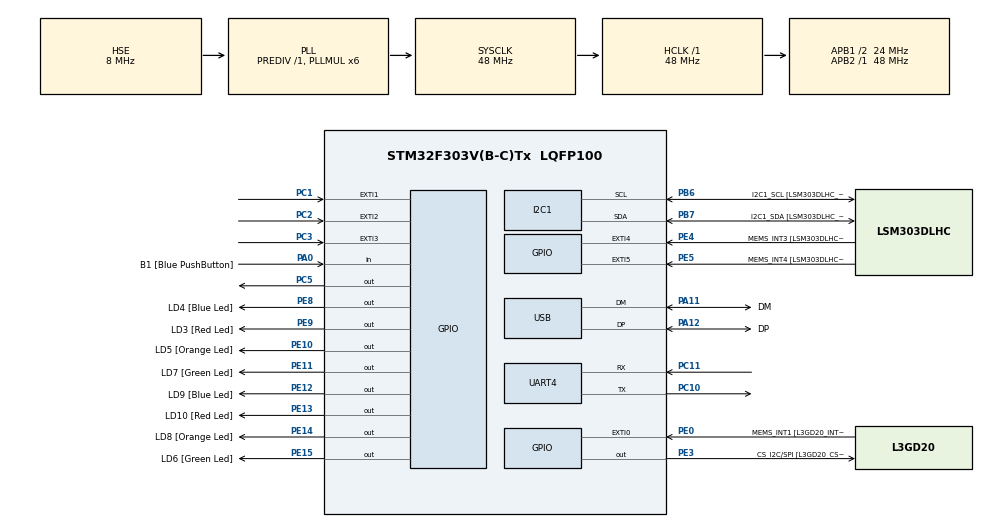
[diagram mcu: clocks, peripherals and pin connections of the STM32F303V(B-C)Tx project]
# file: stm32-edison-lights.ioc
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I2C1.Timing=0x2000090E
I2C1.Timing-I2C=0x2000090E
Mcu.Family=STM32F3
Mcu.Name=STM32F303V(B-C)Tx
Mcu.Package=LQFP100
NVIC.EXTI1_IRQn=true\:0\:0\:false\:false\:true\:true\:true\:true
NVIC.EXTI3_IRQn=true\:0\:0\:false\:false\:true\:true\:true\:true
NVIC.PriorityGroup=NVIC_PRIORITYGROUP_0
NVIC.UART4_IRQn=true\:0\:0\:false\:false\:true\:true\:true\:true
PA0.GPIO_Label=B1 [Blue PushButton]
PA0.Signal=GPIO_Input
PA11.GPIO_Label=DM
PA11.Mode=Device
PA11.Signal=USB_DM
PA12.GPIO_Label=DP
PA12.Mode=Device
PA12.Signal=USB_DP
PA13.GPIO_Label=SWDIO
PA13.Mode=Serial_Wire
PA13.Signal=SYS_JTMS-SWDIO
PA14.GPIO_Label=SWCLK
PA14.Mode=Serial_Wire
PA14.Signal=SYS_JTCK-SWCLK
PA5.GPIO_Label=SPI1_SCK [L3GD20_SCL/SPC]
PA5.Signal=SPI1_SCK
PA6.GPIO_Label=SPI1_MISO [L3GD20_SA0/SDO]
PA6.Signal=SPI1_MISO
PA7.GPIO_Label=SPI1_MISO [L3GD20_SDA/SDI/SDO]
PA7.Signal=SPI1_MOSI
PB3.GPIO_Label=SWO
PB3.Signal=SYS_JTDO-TRACESWO
PB6.GPIO_Label=I2C1_SCL [LSM303DLHC_SCL]
PB6.GPIO_Pu=GPIO_PULLUP
PB6.Mode=I2C
PB6.Signal=I2C1_SCL
PB7.GPIO_Label=I2C1_SDA [LSM303DLHC_SDA]
PB7.GPIO_Pu=GPIO_PULLUP
PB7.Mode=I2C
PB7.Signal=I2C1_SDA
PC1.Signal=GPXTI1
PC10.Mode=Asynchronous
PC10.Signal=UART4_TX
PC11.Mode=Asynchronous
PC11.Signal=UART4_RX
PC14-OSC32_IN.GPIO_Label=OSC32_IN
PC14-OSC32_IN.Signal=RCC_OSC32_IN
PC15-OSC32_OUT.GPIO_Label=OSC32_OUT
PC15-OSC32_OUT.Signal=RCC_OSC32_OUT
PC2.Signal=GPXTI2
PC3.Signal=GPXTI3
PC5.GPIO_ModeDefaultOutputPP=GPIO_MODE_OUTPUT_OD
PC5.GPIO_PuPd=GPIO_NOPULL
PC5.PinState=GPIO_PIN_SET
PC5.Signal=GPIO_Output
PE0.GPIO_Label=MEMS_INT1 [L3GD20_INT1]
PE0.GPIO_ModeDefaultEXTI=GPIO_MODE_EVT_RISING
PE0.Signal=GPXTI0
PE10.GPIO_Label=LD5 [Orange Led]
PE10.Signal=GPIO_Output
PE11.GPIO_Label=LD7 [Green Led]
PE11.Signal=GPIO_Output
PE12.GPIO_Label=LD9 [Blue Led]
PE12.Signal=GPIO_Output
PE13.GPIO_Label=LD10 [Red Led]
PE13.Signal=GPIO_Output
PE14.GPIO_Label=LD8 [Orange Led]
PE14.Signal=GPIO_Output
PE15.GPIO_Label=LD6 [Green Led]
PE15.Signal=GPIO_Output
PE3.GPIO_Label=CS_I2C/SPI [L3GD20_CS_I2C/SPI]
PE3.Signal=GPIO_Output
PE4.GPIO_Label=MEMS_INT3 [LSM303DLHC_INT1]
PE4.GPIO_ModeDefaultEXTI=GPIO_MODE_EVT_RISING
PE4.Signal=GPXTI4
PE5.GPIO_Label=MEMS_INT4 [LSM303DLHC_INT2]
PE5.GPIO_ModeDefaultEXTI=GPIO_MODE_EVT_RISING
PE5.Signal=GPXTI5
PE8.GPIO_Label=LD4 [Blue Led]
PE8.Signal=GPIO_Output
PE9.GPIO_Label=LD3 [Red Led]
PE9.Signal=GPIO_Output
PF0-OSC_IN.GPIO_Label=OSC_IN
PF0-OSC_IN.Mode=HSE-External-Clock-Source
PF0-OSC_IN.Signal=RCC_OSC_IN
PF1-OSC_OUT.GPIO_Label=OSC_OUT
PF1-OSC_OUT.Signal=RCC_OSC_OUT
ProjectManager.HeapSize=0x3000
ProjectManager.StackSize=0x1000
ProjectManager.TargetToolchain=STM32CubeIDE
RCC.AHBFreq_Value=48000000
RCC.APB1CLKDivider=RCC_HCLK_DIV2
RCC.APB1Freq_Value=24000000
RCC.APB1TimFreq_Value=48000000
RCC.APB2Freq_Value=48000000
RCC.APB2TimFreq_Value=48000000
RCC.CortexFreq_Value=48000000
RCC.HCLKFreq_Value=48000000
RCC.HSE_VALUE=8000000
RCC.HSI_VALUE=8000000
RCC.LSE_VALUE=32768
RCC.PLLMUL=RCC_PLL_MUL6
RCC.SYSCLKFreq_VALUE=48000000
RCC.SYSCLKSourceVirtual=RCC_SYSCLKSOURCE_PLLCLK
RCC.USBFreq_Value=48000000
UART4.OverrunDisableParam=UART_ADVFEATURE_OVERRUN_DISABLE
board=STM32F3DISCOVERY

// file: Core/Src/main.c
/* USER CODE BEGIN Header */
/**
  ******************************************************************************
  * @file           : main.c
  * @brief          : Main program body
  ******************************************************************************
  * @attention
  *
  * Copyright (c) 2023 STMicroelectronics.
  * All rights reserved.
  *
  * This software is licensed under terms that can be found in the LICENSE file
  * in the root directory of this software component.
  * If no LICENSE file comes with this software, it is provided AS-IS.
  *
  ******************************************************************************
  */
/* USER CODE END Header */
#include "main.h"

/* USER CODE BEGIN Includes */
#include <stdio.h>
#include <string.h>
#include <ctype.h>
#include "pca9535.h"
/* USER CODE END Includes */

I2C_HandleTypeDef hi2c1;

UART_HandleTypeDef huart4;

PCD_HandleTypeDef hpcd_USB_FS;

/* USER CODE BEGIN PV */
int MODE = 0; 	     //Режим работы
int MODE_NUM = 4;
char commandBuf[32]; //Буфер обработки комманды
char outputBuf[64];  //Буфер ответа на комманды
int msgLen = 0;		 //Длина комманды
int PIN = 0;
int DELAY = 1000;	 //Задержка цикла
int TIMESTAMP;
int SPEED = 100;	 //Скорость мерцания диодов
int DELAY_DEFAULT_MODE_1 = 500;
int DELAY_DEFAULT_MODE_2 = 1000;
int DELAY_DEFAULT_MODE_3 = 1500;
int SPEED_DEFAULT_MODE_1 = 100;
int SPEED_DEFAULT_MODE_2 = 200;
int SPEED_DEFAULT_MODE_3 = 400;
int DIRECTION = 1; // Направление движения диодов, положительное или отрицательное
/* USER CODE END PV */

void SystemClock_Config(void);
static void MX_GPIO_Init(void);
static void MX_I2C1_Init(void);
static void MX_USB_PCD_Init(void);
static void MX_UART4_Init(void);

/* USER CODE BEGIN 0 */

void setModeParam(int _MODE){
	if (_MODE = MODE){
		MODE = 0;
		return;
	}
	switch (_MODE){
	case 1:
		MODE = 1;
		DELAY = DELAY_DEFAULT_MODE_1;
		SPEED = SPEED_DEFAULT_MODE_1;
		DIRECTION = 1;
		break;
	case 2:
		MODE = 2;
		DELAY = DELAY_DEFAULT_MODE_2;
		SPEED = SPEED_DEFAULT_MODE_2;
		DIRECTION = 1;
		break;
	case 3:
		MODE = 3;
		DELAY = DELAY_DEFAULT_MODE_3;
		SPEED = SPEED_DEFAULT_MODE_3;
		DIRECTION = 1;
		break;
	}
	return;
}

void button_1_IRQ_Callback(){
	setMode(1);
}
void button_2_IRQ_Callback(){
	setMode(2);
}
void button_3_IRQ_Callback(){
	setMode(3);
}

int UART_IRQ_callback() {
	 if (!__HAL_UART_GET_FLAG(&huart4, UART_FLAG_RXNE)) {
		 return 0;
	 }
	 commandBuf[msgLen % INPUT_BUF_SIZE] = huart4.Instance->RDR;
	 msgLen++;
	 return 0;
}

//Выствляем все выходы в 0
void clearOutput(){
	PCA9535_WriteClearAll(hi2c1, PCA9555_ADR20);
	PCA9535_WriteClearAll(hi2c1, PCA9555_ADR21);
}
//Выставляем все выходы в 1
void setOutput(){
	PCA9535_WriteSetAll(hi2c1, PCA9555_ADR20);
	PCA9535_WriteSetAll(hi2c1, PCA9555_ADR21);
}
//Режим комета
void mode_1(){
	HAL_Delay(1000 /SPEED_DEFAULT_MODE_1);
	PIN += DIRECTION;
	if(PIN > 33 || PIN < 0){
		clearOutput();
		HAL_GPIO_WritePin(GPIOE, GPIO_PIN_8, RESET);
		if(DIRECTION > 0)
			PIN = 0;
		else
			PIN = 33;
		return;
	}
	if(PIN < 15){
	     PCA9535_Write(hi2c1, PIN, SET , PCA9555_ADR20);
	     return;
	}
	if(PIN < 32){
	     PCA9535_Write(hi2c1, PIN - 16, SET , PCA9555_ADR21);
	     return;
	}
	if(PIN == 33){
		HAL_GPIO_WritePin(GPIOE, GPIO_PIN_8, SET);
		return;
    }
}
//Режим падение
void mode_2(){
	HAL_Delay(1000 /SPEED_DEFAULT_MODE_2);
	PIN -= DIRECTION;
	if(PIN > 33 || PIN < 0){
		clearOutput();
		if(DIRECTION > 0)
			PIN = 33;
		else PIN = 0;
		return;
	}

	if(PIN == 33){
		HAL_GPIO_WritePin(GPIOE, GPIO_PIN_8, SET);
		return;
	}
	HAL_GPIO_WritePin(GPIOE, GPIO_PIN_8, RESET);
	if(PIN < 32){
		 clearOutput();
	     PCA9535_Write(hi2c1, PIN - 16, SET , PCA9555_ADR21);
	     return;
	}
	if(PIN < 15){
		 clearOutput();
	     PCA9535_Write(hi2c1, PIN, SET , PCA9555_ADR20);
	     return;
	}
}
//Режим салют
void mode_3(){
	HAL_Delay(1000 / SPEED_DEFAULT_MODE_3);
	PIN += DIRECTION;
	if(PIN > 32 || PIN < 0){
		setOutput();
		if(DIRECTION > 0)
			PIN = 0;
		else
			PIN = 32;
		return;
	 }
	if(PIN < 15){
		 setOutput();
	     PCA9535_Write(hi2c1, PIN, RESET , PCA9555_ADR20);
	     return;
	}
	if(PIN < 32){
		 setOutput();
	     PCA9535_Write(hi2c1, PIN - 16, RESET , PCA9555_ADR21);
	     return;
	}
}

void setDelay(int _delay){
	DELAY = abs(_delay) % 3000;
}

void setMode(int _mode){
	_mode = abs(_mode) % MODE_NUM;
	setModeParam(_mode);
}

void setSpeed(int _speed){
	SPEED = abs(_speed) % 1000;
}

void setDirection(int _dir){
	(_dir > 0) ? (DIRECTION = 1) : (DIRECTION = -1);
}
//Обработка AT-Комманд
void commandProcess(){
	int n = 0;
	int cmd_len = strlen(commandBuf);
	sscanf(commandBuf, "AT+TURNOFF%n", &n);
	if (!strncmp(commandBuf, "AT+TURNOFF", 10)){
		strcpy(outputBuf, "OK\n");
		MODE = 0;
		return;
	}
	if (!strncmp(commandBuf, "AT+SETMODE:", 11)){
		int tempMode = -1;
		sscanf(commandBuf, "AT+SETMODE:%d", &tempMode);
		setMode(tempMode);
		strcpy(outputBuf, "OK");
		return;
	}
	if (!strncmp(commandBuf, "AT+SETDELAY:", 12)){
		int tempDelay = 100;
		sscanf(commandBuf, "AT+SETDELAY:%d", &tempDelay);
		setDelay(tempDelay);
		strcpy(outputBuf, "OK");
		return;
	}
	if (!strncmp(commandBuf, "AT+SETSPEED:", 12)){
		int tempSpeed = 100;
		sscanf(commandBuf, "AT+SETSPEED:%d", &tempSpeed);
		setSpeed(tempSpeed);
		strcpy(outputBuf, "OK");
		return;
	}
	if (!strncmp(commandBuf, "AT+SETDIRECTION:", 16)){
		int tempDir = 100;
		sscanf(commandBuf, "AT+SETDIRECTION:%d", &tempDir);
		setDirection(tempDir);
		strcpy(outputBuf, "OK");
		return;
	}
	if (!strncmp(commandBuf, "AT+GETMODE", 10)){
		if(!MODE){
			strcpy(outputBuf, "OFF");
			return;
		}
		sprintf(outputBuf, "ON MODE:%d SPEED:%d DELAY:%d DIRECTION: %d", MODE, SPEED, DELAY, DIRECTION);
		return;
	}
	strcpy(outputBuf, "ERROR");
}
/* USER CODE END 0 */

int main(void)
{

  /* MCU Configuration--------------------------------------------------------*/

  /* Reset of all peripherals, Initializes the Flash interface and the Systick. */
  HAL_Init();

  /* Configure the system clock */
  SystemClock_Config();

  /* Initialize all configured peripherals */
  MX_GPIO_Init();
  MX_I2C1_Init();
  MX_USB_PCD_Init();
  MX_UART4_Init();
  /* USER CODE BEGIN 2 */
  //Включаем прерывания по RXNE
   __HAL_UART_ENABLE_IT(&huart4, UART_IT_RXNE);
   TIMESTAMP = HAL_GetTick();
   //Настраеваем порты PC9535 с адрессами 0x20 и 0x21 на выход
   PC9535_init(hi2c1, PCA9555_ADR20);
   PC9535_init(hi2c1, PCA9555_ADR21);
   //Выставляем все выходы в 0
   clearOutput();
   HAL_UART_Transmit(&huart4, "Start", 5, HAL_MAX_DELAY);
  /* USER CODE END 2 */

  /* Infinite loop */
  /* USER CODE BEGIN WHILE */
   while (1) {
	   HAL_Delay(1000);
	   	   if(msgLen){
	   	   	   commandProcess();
	   	   	   HAL_UART_Transmit(&huart4, outputBuf, strlen(outputBuf), 1000);
	   	 	   HAL_UART_Transmit(&huart4, "\n", 1, 1000);
	   	   	   msgLen = 0;
	   	   	   memset(commandBuf, 0 , 32);
	   	   	   memset(outputBuf, 0 , 64);
	   	   }
	if(HAL_GetTick() - TIMESTAMP > DELAY){
		TIMESTAMP = HAL_GetTick();
	}
	else
		continue;

	switch(MODE){
		case 1:
			mode_1();
			break;
		case 2:
			mode_2();
			break;
		case 3:
			mode_3();
			break;
		default:
			break;
	}
    /* USER CODE END WHILE */

   }
}

void SystemClock_Config(void)
{
  RCC_OscInitTypeDef RCC_OscInitStruct = {0};
  RCC_ClkInitTypeDef RCC_ClkInitStruct = {0};
  RCC_PeriphCLKInitTypeDef PeriphClkInit = {0};

  /** Initializes the RCC Oscillators according to the specified parameters
  * in the RCC_OscInitTypeDef structure.
  */
  RCC_OscInitStruct.OscillatorType = RCC_OSCILLATORTYPE_HSI|RCC_OSCILLATORTYPE_HSE;
  RCC_OscInitStruct.HSEState = RCC_HSE_BYPASS;
  RCC_OscInitStruct.HSEPredivValue = RCC_HSE_PREDIV_DIV1;
  RCC_OscInitStruct.HSIState = RCC_HSI_ON;
  RCC_OscInitStruct.HSICalibrationValue = RCC_HSICALIBRATION_DEFAULT;
  RCC_OscInitStruct.PLL.PLLState = RCC_PLL_ON;
  RCC_OscInitStruct.PLL.PLLSource = RCC_PLLSOURCE_HSE;
  RCC_OscInitStruct.PLL.PLLMUL = RCC_PLL_MUL6;
  if (HAL_RCC_OscConfig(&RCC_OscInitStruct) != HAL_OK)
  {
    Error_Handler();
  }

  /** Initializes the CPU, AHB and APB buses clocks
  */
  RCC_ClkInitStruct.ClockType = RCC_CLOCKTYPE_HCLK|RCC_CLOCKTYPE_SYSCLK
                              |RCC_CLOCKTYPE_PCLK1|RCC_CLOCKTYPE_PCLK2;
  RCC_ClkInitStruct.SYSCLKSource = RCC_SYSCLKSOURCE_PLLCLK;
  RCC_ClkInitStruct.AHBCLKDivider = RCC_SYSCLK_DIV1;
  RCC_ClkInitStruct.APB1CLKDivider = RCC_HCLK_DIV2;
  RCC_ClkInitStruct.APB2CLKDivider = RCC_HCLK_DIV1;

  if (HAL_RCC_ClockConfig(&RCC_ClkInitStruct, FLASH_LATENCY_1) != HAL_OK)
  {
    Error_Handler();
  }
  PeriphClkInit.PeriphClockSelection = RCC_PERIPHCLK_USB|RCC_PERIPHCLK_UART4
                              |RCC_PERIPHCLK_I2C1;
  PeriphClkInit.Uart4ClockSelection = RCC_UART4CLKSOURCE_PCLK1;
  PeriphClkInit.I2c1ClockSelection = RCC_I2C1CLKSOURCE_HSI;
  PeriphClkInit.USBClockSelection = RCC_USBCLKSOURCE_PLL;
  if (HAL_RCCEx_PeriphCLKConfig(&PeriphClkInit) != HAL_OK)
  {
    Error_Handler();
  }
}

static void MX_I2C1_Init(void)
{

  hi2c1.Instance = I2C1;
  hi2c1.Init.Timing = 0x2000090E;
  hi2c1.Init.OwnAddress1 = 0;
  hi2c1.Init.AddressingMode = I2C_ADDRESSINGMODE_7BIT;
  hi2c1.Init.DualAddressMode = I2C_DUALADDRESS_DISABLE;
  hi2c1.Init.OwnAddress2 = 0;
  hi2c1.Init.OwnAddress2Masks = I2C_OA2_NOMASK;
  hi2c1.Init.GeneralCallMode = I2C_GENERALCALL_DISABLE;
  hi2c1.Init.NoStretchMode = I2C_NOSTRETCH_DISABLE;
  if (HAL_I2C_Init(&hi2c1) != HAL_OK)
  {
    Error_Handler();
  }

  /** Configure Analogue filter
  */
  if (HAL_I2CEx_ConfigAnalogFilter(&hi2c1, I2C_ANALOGFILTER_ENABLE) != HAL_OK)
  {
    Error_Handler();
  }

  /** Configure Digital filter
  */
  if (HAL_I2CEx_ConfigDigitalFilter(&hi2c1, 0) != HAL_OK)
  {
    Error_Handler();
  }

}

static void MX_UART4_Init(void)
{

  huart4.Instance = UART4;
  huart4.Init.BaudRate = 115200;
  huart4.Init.WordLength = UART_WORDLENGTH_8B;
  huart4.Init.StopBits = UART_STOPBITS_1;
  huart4.Init.Parity = UART_PARITY_NONE;
  huart4.Init.Mode = UART_MODE_TX_RX;
  huart4.Init.HwFlowCtl = UART_HWCONTROL_NONE;
  huart4.Init.OverSampling = UART_OVERSAMPLING_16;
  huart4.Init.OneBitSampling = UART_ONE_BIT_SAMPLE_DISABLE;
  huart4.AdvancedInit.AdvFeatureInit = UART_ADVFEATURE_RXOVERRUNDISABLE_INIT;
  huart4.AdvancedInit.OverrunDisable = UART_ADVFEATURE_OVERRUN_DISABLE;
  if (HAL_UART_Init(&huart4) != HAL_OK)
  {
    Error_Handler();
  }

}

static void MX_USB_PCD_Init(void)
{

  hpcd_USB_FS.Instance = USB;
  hpcd_USB_FS.Init.dev_endpoints = 8;
  hpcd_USB_FS.Init.speed = PCD_SPEED_FULL;
  hpcd_USB_FS.Init.phy_itface = PCD_PHY_EMBEDDED;
  hpcd_USB_FS.Init.low_power_enable = DISABLE;
  hpcd_USB_FS.Init.battery_charging_enable = DISABLE;
  if (HAL_PCD_Init(&hpcd_USB_FS) != HAL_OK)
  {
    Error_Handler();
  }

}

static void MX_GPIO_Init(void)
{
  GPIO_InitTypeDef GPIO_InitStruct = {0};

  /* GPIO Ports Clock Enable */
  __HAL_RCC_GPIOE_CLK_ENABLE();
  __HAL_RCC_GPIOC_CLK_ENABLE();
  __HAL_RCC_GPIOF_CLK_ENABLE();
  __HAL_RCC_GPIOA_CLK_ENABLE();
  __HAL_RCC_GPIOB_CLK_ENABLE();

  /*Configure GPIO pin Output Level */
  HAL_GPIO_WritePin(GPIOE, CS_I2C_SPI_Pin|LD4_Pin|LD3_Pin|LD5_Pin
                          |LD7_Pin|LD9_Pin|LD10_Pin|LD8_Pin
                          |LD6_Pin, GPIO_PIN_RESET);

  /*Configure GPIO pin Output Level */
  HAL_GPIO_WritePin(GPIOC, GPIO_PIN_5, GPIO_PIN_SET);

  /*Configure GPIO pins : CS_I2C_SPI_Pin LD4_Pin LD3_Pin LD5_Pin
                           LD7_Pin LD9_Pin LD10_Pin LD8_Pin
                           LD6_Pin */
  GPIO_InitStruct.Pin = CS_I2C_SPI_Pin|LD4_Pin|LD3_Pin|LD5_Pin
                          |LD7_Pin|LD9_Pin|LD10_Pin|LD8_Pin
                          |LD6_Pin;
  GPIO_InitStruct.Mode = GPIO_MODE_OUTPUT_PP;
  GPIO_InitStruct.Pull = GPIO_NOPULL;
  GPIO_InitStruct.Speed = GPIO_SPEED_FREQ_LOW;
  HAL_GPIO_Init(GPIOE, &GPIO_InitStruct);

  /*Configure GPIO pins : MEMS_INT3_Pin MEMS_INT4_Pin MEMS_INT1_Pin */
  GPIO_InitStruct.Pin = MEMS_INT3_Pin|MEMS_INT4_Pin|MEMS_INT1_Pin;
  GPIO_InitStruct.Mode = GPIO_MODE_EVT_RISING;
  GPIO_InitStruct.Pull = GPIO_NOPULL;
  HAL_GPIO_Init(GPIOE, &GPIO_InitStruct);

  /*Configure GPIO pins : PC1 PC2 PC3 */
  GPIO_InitStruct.Pin = GPIO_PIN_1|GPIO_PIN_2|GPIO_PIN_3;
  GPIO_InitStruct.Mode = GPIO_MODE_IT_RISING;
  GPIO_InitStruct.Pull = GPIO_NOPULL;
  HAL_GPIO_Init(GPIOC, &GPIO_InitStruct);

  /*Configure GPIO pin : B1_Pin */
  GPIO_InitStruct.Pin = B1_Pin;
  GPIO_InitStruct.Mode = GPIO_MODE_INPUT;
  GPIO_InitStruct.Pull = GPIO_NOPULL;
  HAL_GPIO_Init(B1_GPIO_Port, &GPIO_InitStruct);

  /*Configure GPIO pins : SPI1_SCK_Pin SPI1_MISO_Pin SPI1_MISOA7_Pin */
  GPIO_InitStruct.Pin = SPI1_SCK_Pin|SPI1_MISO_Pin|SPI1_MISOA7_Pin;
  GPIO_InitStruct.Mode = GPIO_MODE_AF_PP;
  GPIO_InitStruct.Pull = GPIO_NOPULL;
  GPIO_InitStruct.Speed = GPIO_SPEED_FREQ_HIGH;
  GPIO_InitStruct.Alternate = GPIO_AF5_SPI1;
  HAL_GPIO_Init(GPIOA, &GPIO_InitStruct);

  /*Configure GPIO pin : PC5 */
  GPIO_InitStruct.Pin = GPIO_PIN_5;
  GPIO_InitStruct.Mode = GPIO_MODE_OUTPUT_OD;
  GPIO_InitStruct.Pull = GPIO_NOPULL;
  GPIO_InitStruct.Speed = GPIO_SPEED_FREQ_LOW;
  HAL_GPIO_Init(GPIOC, &GPIO_InitStruct);

  /* EXTI interrupt init*/
  HAL_NVIC_SetPriority(EXTI1_IRQn, 0, 0);
  HAL_NVIC_EnableIRQ(EXTI1_IRQn);

  HAL_NVIC_SetPriority(EXTI3_IRQn, 0, 0);
  HAL_NVIC_EnableIRQ(EXTI3_IRQn);

}

void Error_Handler(void)
{
  __disable_irq();
  while (1)
  {
  }
}
